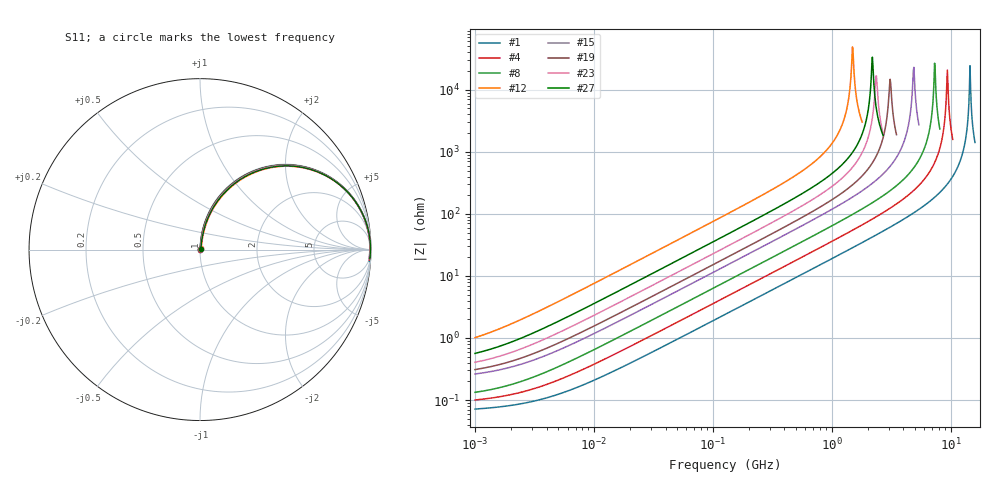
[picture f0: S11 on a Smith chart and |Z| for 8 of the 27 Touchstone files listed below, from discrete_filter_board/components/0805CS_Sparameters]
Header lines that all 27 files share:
# MHz S MA R 50
!Freq  MagS11  AngS11  MagS21  AngS21  MagS12  AngS12  MagS22  AngS22
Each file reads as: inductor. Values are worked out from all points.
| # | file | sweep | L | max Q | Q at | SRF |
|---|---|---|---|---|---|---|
| 1 | 0805CS-3N0.s2p | 1 MHz to 16 GHz | 3 nH | 119 | 5.385 GHz | 14.52 GHz |
| 2 | 0805CS-020.s2p | 1 MHz to 17.2 GHz | 2.75 nH | 158 | 6.177 GHz | 15.41 GHz |
| 3 | 0805CS-030.s2p | 1 MHz to 14.9 GHz | 3.3 nH | 91.4 | 4.935 GHz | 13.37 GHz |
| 4 | 0805CS-050.s2p | 1 MHz to 10.4 GHz | 5.66 nH | 114 | 3.235 GHz | 9.264 GHz |
| 5 | 0805CS-060.s2p | 1 MHz to 10.6 GHz | 6.72 nH | 91.6 | 3.406 GHz | 9.55 GHz |
| 6 | 0805CS-070.s2p | 1 MHz to 7.9 GHz | 7.65 nH | 81.7 | 2.573 GHz | 7.062 GHz |
| 7 | 0805CS-080.s2p | 1 MHz to 7.1 GHz | 8.05 nH | 76.3 | 2.168 GHz | 6.426 GHz |
| 8 | 0805CS-100.s2p | 1 MHz to 8.1 GHz | 10 nH | 136 | 2.458 GHz | 7.32 GHz |
| 9 | 0805CS-101.s2p | 1 MHz to 2.1 GHz | 99 nH | 74.7 | 629.5 MHz | 1.685 GHz |
| 10 | 0805CS-111.s2p | 1 MHz to 1.8 GHz | 109 nH | 76.5 | 532.5 MHz | 1.451 GHz |
| 11 | 0805CS-120.s2p | 1 MHz to 7.1 GHz | 12 nH | 103 | 2.007 GHz | 6.426 GHz |
| 12 | 0805CS-121.s2p | 1 MHz to 1.8 GHz | 119 nH | 74.9 | 542.5 MHz | 1.492 GHz |
| 13 | 0805CS-150.s2p | 1 MHz to 4.7 GHz | 15 nH | 83.9 | 1.365 GHz | 4.184 GHz |
| 14 | 0805CS-151.s2p | 1 MHz to 1.5 GHz | 149 nH | 65.7 | 440.7 MHz | 1.238 GHz |
| 15 | 0805CS-180.s2p | 1 MHz to 5.4 GHz | 18 nH | 92.6 | 1.656 GHz | 4.85 GHz |
| 16 | 0805CS-181.s2p | 1 MHz to 1.6 GHz | 178 nH | 66.7 | 478 MHz | 1.247 GHz |
| 17 | 0805CS-220.s2p | 1 MHz to 3.9 GHz | 22 nH | 82.3 | 1.164 GHz | 3.517 GHz |
| 18 | 0805CS-221.s2p | 1 MHz to 1.5 GHz | 215 nH | 62.4 | 428.7 MHz | 1.161 GHz |
| 19 | 0805CS-240.s2p | 1 MHz to 3.5 GHz | 24 nH | 71.6 | 1.04 GHz | 3.097 GHz |
| 20 | 0805CS-241.s2p | 1 MHz to 1.3 GHz | 235 nH | 56.6 | 394.7 MHz | 1.048 GHz |
| 21 | 0805CS-270.s2p | 1 MHz to 4.2 GHz | 27 nH | 85.9 | 1.24 GHz | 3.706 GHz |
| 22 | 0805CS-330.s2p | 1 MHz to 3.1 GHz | 33 nH | 82.1 | 966.3 MHz | 2.804 GHz |
| 23 | 0805CS-360.s2p | 1 MHz to 2.7 GHz | 36 nH | 70.3 | 801.3 MHz | 2.351 GHz |
| 24 | 0805CS-390.s2p | 1 MHz to 3.4 GHz | 39 nH | 82.8 | 973.9 MHz | 2.803 GHz |
| 25 | 0805CS-430.s2p | 1 MHz to 3.2 GHz | 43 nH | 79.8 | 906.7 MHz | 2.642 GHz |
| 26 | 0805CS-470.s2p | 1 MHz to 2.7 GHz | 47 nH | 74.4 | 801.3 MHz | 2.194 GHz |
| 27 | 0805CS-560.s2p | 1 MHz to 2.7 GHz | 56 nH | 73 | 785.6 MHz | 2.173 GHz |
